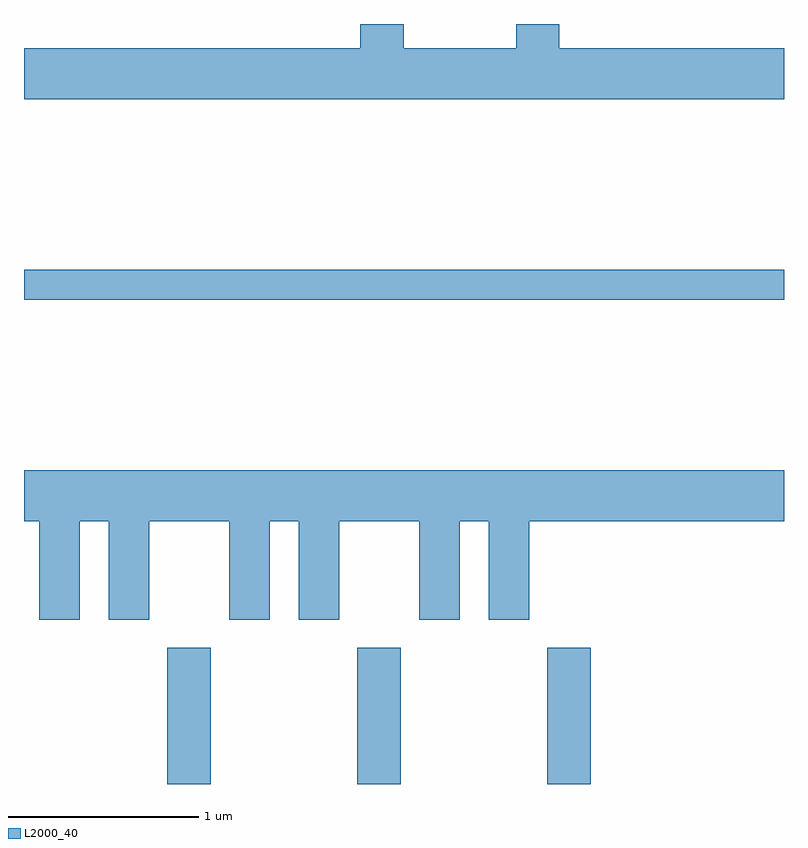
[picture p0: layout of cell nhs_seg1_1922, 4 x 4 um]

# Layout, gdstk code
import gdstk
lib = gdstk.Library(unit=1e-6, precision=1e-09)
def R(c, l, rs):  # rectangles x0, y0, x1, y1
    for r in rs: c.add(gdstk.rectangle(r[:2], r[2:], *l))
def A(c, l, x, y, w, h, nx, ny, dx, dy):  # array of equal rectangles
    R(c, l, [(x+i*dx, y+j*dy, x+i*dx+w, y+j*dy+h) for i in range(nx) for j in range(ny)])
def P(c, l, *ps):  # polygons
    for p in ps: c.add(gdstk.Polygon(p, *l))
L2000_40 = (2000, 40)

nhs_seg1_1922 = lib.new_cell('nhs_seg1_1922')
A(nhs_seg1_1922, L2000_40, 244.366, 933.712, 0.228, 0.717, 3, 1, 1, 0)
R(nhs_seg1_1922, L2000_40, [(243.611,936.261,247.611,936.419)])
P(nhs_seg1_1922, L2000_40, [(247.611,937.584),(246.429,937.584),(246.429,937.712),(246.201,937.712),(246.201,937.584),(245.609,937.584),(245.609,937.712),(245.381,937.712),(245.381,937.584),(243.611,937.584),(243.611,937.316),(247.611,937.316)],
  [(243.904,935.096),(244.056,935.096),(244.056,934.576),(244.269,934.576),(244.269,935.096),(244.691,935.096),(244.691,934.576),(244.904,934.576),(244.904,935.096),(245.056,935.096),(245.056,934.576),(245.269,934.576),(245.269,935.096),(245.691,935.096),(245.691,934.576),(245.904,934.576),(245.904,935.096),(246.056,935.096),(246.056,934.576),(246.269,934.576),(246.269,935.096),(247.611,935.096),(247.611,935.364),(243.611,935.364),(243.611,935.096),(243.691,935.096),(243.691,934.576),(243.904,934.576)])

lib.write_gds('nhs_seg1_1922.gds')
